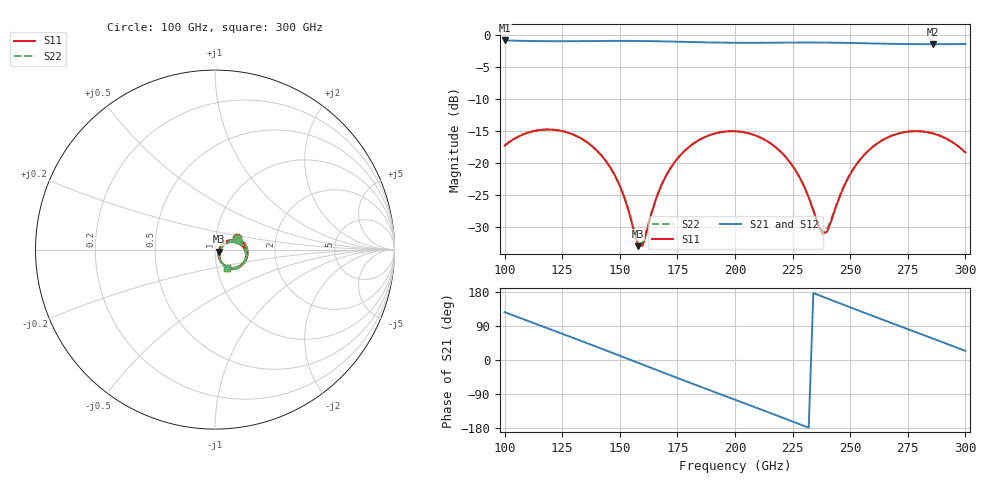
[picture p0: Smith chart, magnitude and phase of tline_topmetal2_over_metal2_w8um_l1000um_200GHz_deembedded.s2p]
! Created with skrf 2.2.0 (http://scikit-rf.org).
# GHz S DB R 50.0
! Port[1] = P1
! Port[2] = P2
!freq dBS11 angS11 dBS21 angS21 dBS12 angS12 dBS22 angS22
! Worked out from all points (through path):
!   101 points, 100 GHz to 300 GHz, reference 50 ohm
!   highest |S21| = -0.79 dB at 100 GHz (marker M1); lowest = -1.4 dB at 286 GHz (marker M2)
!   group delay of S21, straight-line fit = 6.43 ps
!   lowest |S11| = -33.0 dB at 158 GHz (marker M3), VSWR 1.05, Z = 52 - j1.13 ohm
!   |S11| at or under -10 dB: start of sweep to end of sweep
!   |S22| runs from -32.6 to -14.7 dB; largest |S21 - S12| = 1.6e-13
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100  -17.24 26.9  -0.79 126.4  -0.79 126.4  -17.22 26.4
116  -14.78 -5.0  -0.89 89.7  -0.89 89.7  -14.77 -5.1
124  -14.89 -21.1  -0.91 71.5  -0.91 71.5  -14.89 -21.2
134  -16.29 -41.0  -0.89 48.5  -0.89 48.5  -16.29 -40.9
148  -22.00 -63.8  -0.86 15.9  -0.86 15.9  -21.98 -63.2
158  -32.98 -29.0  -0.87 -7.6  -0.87 -7.6  -32.59 -27.9
160  -32.87 3.7  -0.88 -12.3  -0.88 -12.3  -32.44 3.1
168  -23.49 37.9  -0.92 -31.1  -0.92 -31.1  -23.42 36.9
176  -18.86 28.5  -0.99 -49.8  -0.99 -49.8  -18.83 27.8
184  -16.45 14.2  -1.06 -68.2  -1.06 -68.2  -16.44 13.7
200  -14.99 -16.8  -1.15 -104.8  -1.15 -104.8  -14.99 -17.1
210  -15.82 -36.0  -1.15 -127.7  -1.15 -127.7  -15.82 -36.2
220  -18.25 -53.6  -1.13 -150.7  -1.13 -150.7  -18.26 -53.6
228  -22.18 -63.0  -1.12 -169.3  -1.12 -169.3  -22.17 -62.6
234  -27.38 -56.5  -1.11 176.6  -1.11 176.6  -27.29 -55.5
238  -31.07 -24.9  -1.12 167.2  -1.12 167.2  -30.73 -24.2
240  -30.70 -0.7  -1.13 162.5  -1.13 162.5  -30.34 -1.2
252  -20.56 27.2  -1.19 134.4  -1.19 134.4  -20.49 26.1
268  -15.70 1.3  -1.31 97.4  -1.31 97.4  -15.68 0.4
276  -15.02 -13.7  -1.35 79.1  -1.35 79.1  -15.01 -14.6
286  -15.34 -32.6  -1.37 56.3  -1.37 56.3  -15.34 -33.6
300  -18.32 -56.2  -1.35 24.1  -1.35 24.1  -18.35 -57.7
